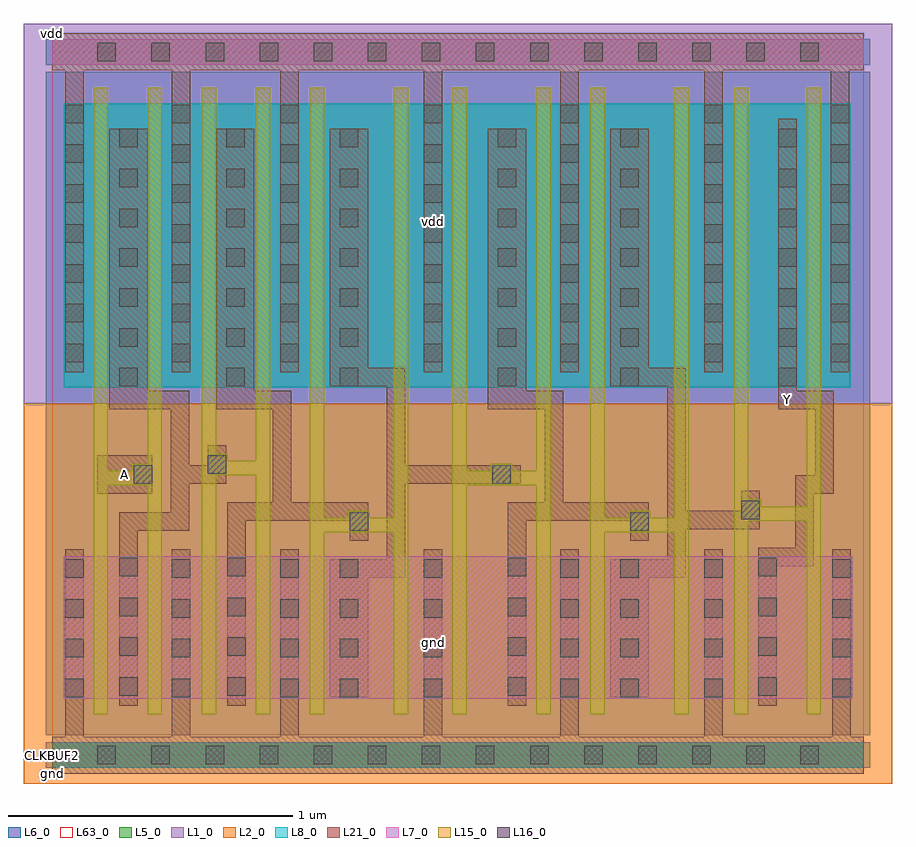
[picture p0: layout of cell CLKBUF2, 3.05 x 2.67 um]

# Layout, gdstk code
import gdstk
lib = gdstk.Library(unit=1e-6, precision=1e-09)
def R(c, l, rs):  # rectangles x0, y0, x1, y1
    for r in rs: c.add(gdstk.rectangle(r[:2], r[2:], *l))
def A(c, l, x, y, w, h, nx, ny, dx, dy):  # array of equal rectangles
    R(c, l, [(x+i*dx, y+j*dy, x+i*dx+w, y+j*dy+h) for i in range(nx) for j in range(ny)])
def P(c, l, *ps):  # polygons
    for p in ps: c.add(gdstk.Polygon(p, *l))
L1_0 = (1, 0)
L2_0 = (2, 0)
L5_0 = (5, 0)
L6_0 = (6, 0)
L7_0 = (7, 0)
L8_0 = (8, 0)
L15_0 = (15, 0)
L16_0 = (16, 0)
L21_0 = (21, 0)
L63_0 = (63, 0)

clkbuf2 = lib.new_cell('CLKBUF2')
R(clkbuf2, L1_0, [(-0.1,1.235,2.95,2.57)])
R(clkbuf2, L2_0, [(-0.1,-0.1,2.95,1.235)])
A(clkbuf2, L5_0, 0.145, 0.198, 0.05, 0.5, 5, 1, 0.19, 0)
A(clkbuf2, L5_0, 0.195, 0.198, 0.14, 0.5, 4, 1, 0.19, 0)
A(clkbuf2, L5_0, 0.145, 1.29, 0.05, 1, 5, 1, 0.19, 0)
A(clkbuf2, L5_0, 0.195, 1.29, 0.14, 1, 4, 1, 0.19, 0)
R(clkbuf2, L5_0, [(0,-0.045,2.85,0.045), (0.04,0.198,0.145,0.698), (0.955,0.198,1.2,0.698), (1.2,0.198,1.25,0.698), (1.25,0.198,1.405,0.698), (1.405,0.198,1.455,0.698), (1.455,0.198,1.7,0.698), (1.7,0.198,1.75,0.698), (1.75,0.198,1.89,0.698), (1.89,0.198,1.94,0.698), (1.94,0.198,2.185,0.698), (2.185,0.198,2.235,0.698), (2.235,0.198,2.395,0.698), (2.395,0.198,2.445,0.698), (2.445,0.198,2.65,0.698), (2.65,0.198,2.7,0.698), (2.7,0.198,2.81,0.698), (0.04,1.29,0.145,2.29), (0.955,1.29,1.2,2.29), (1.2,1.29,1.25,2.29), (1.25,1.29,1.405,2.29), (1.405,1.29,1.455,2.29), (1.455,1.29,1.7,2.29), (1.7,1.29,1.75,2.29), (1.75,1.29,1.89,2.29), (1.89,1.29,1.94,2.29), (1.94,1.29,2.185,2.29), (2.185,1.29,2.235,2.29), (2.235,1.29,2.395,2.29), (2.395,1.29,2.445,2.29), (2.445,1.29,2.65,2.29), (2.65,1.29,2.7,2.29), (2.7,1.29,2.805,2.29), (0,2.425,2.85,2.515)])
R(clkbuf2, L6_0, [(-0.023,-0.045,2.873,0.045), (-0.023,-0.045,2.873,0.045), (-0.023,0.07,2.873,1.235), (-0.023,1.235,2.873,2.4), (-0.023,2.425,2.873,2.515), (-0.023,2.425,2.873,2.515)])
A(clkbuf2, L7_0, 0.145, 0.198, 0.05, 0.5, 5, 1, 0.19, 0)
A(clkbuf2, L7_0, 0.195, 0.198, 0.14, 0.5, 4, 1, 0.19, 0)
R(clkbuf2, L7_0, [(0.04,0.198,0.145,0.698), (0.955,0.198,1.2,0.698), (1.2,0.198,1.25,0.698), (1.25,0.198,1.405,0.698), (1.405,0.198,1.455,0.698), (1.455,0.198,1.7,0.698), (1.7,0.198,1.75,0.698), (1.75,0.198,1.89,0.698), (1.89,0.198,1.94,0.698), (1.94,0.198,2.185,0.698), (2.185,0.198,2.235,0.698), (2.235,0.198,2.395,0.698), (2.395,0.198,2.445,0.698), (2.445,0.198,2.65,0.698), (2.65,0.198,2.7,0.698), (2.7,0.198,2.81,0.698), (0,2.425,2.85,2.515)])
A(clkbuf2, L8_0, 0.145, 1.29, 0.05, 1, 5, 1, 0.19, 0)
A(clkbuf2, L8_0, 0.195, 1.29, 0.14, 1, 4, 1, 0.19, 0)
R(clkbuf2, L8_0, [(0,-0.045,2.85,0.045), (0.04,1.29,0.145,2.29), (0.955,1.29,1.2,2.29), (1.2,1.29,1.25,2.29), (1.25,1.29,1.405,2.29), (1.405,1.29,1.455,2.29), (1.455,1.29,1.7,2.29), (1.7,1.29,1.75,2.29), (1.75,1.29,1.89,2.29), (1.89,1.29,1.94,2.29), (1.94,1.29,2.185,2.29), (2.185,1.29,2.235,2.29), (2.235,1.29,2.395,2.29), (2.395,1.29,2.445,2.29), (2.445,1.29,2.65,2.29), (2.65,1.29,2.7,2.29), (2.7,1.29,2.805,2.29)])
A(clkbuf2, L15_0, 0.145, 0.143, 0.05, 0.055, 5, 2, 0.19, 2.147)
A(clkbuf2, L15_0, 0.145, 0.198, 0.05, 0.5, 5, 1, 0.19, 0)
A(clkbuf2, L15_0, 0.145, 1.29, 0.05, 1, 5, 1, 0.19, 0)
R(clkbuf2, L15_0, [(1.2,0.143,1.25,0.198), (1.405,0.143,1.455,0.198), (1.7,0.143,1.75,0.198), (1.89,0.143,1.94,0.198), (2.185,0.143,2.235,0.198), (2.395,0.143,2.445,0.198), (2.65,0.143,2.7,0.198), (1.2,0.198,1.25,0.698), (1.405,0.198,1.455,0.698), (1.7,0.198,1.75,0.698), (1.89,0.198,1.94,0.698), (2.185,0.198,2.235,0.698), (2.395,0.198,2.445,0.698), (2.65,0.198,2.7,0.698), (1.2,1.29,1.25,2.29), (1.405,1.29,1.455,2.29), (1.7,1.29,1.75,2.29), (1.89,1.29,1.94,2.29), (2.185,1.29,2.235,2.29), (2.395,1.29,2.445,2.29), (2.65,1.29,2.7,2.29), (1.2,2.29,1.25,2.345), (1.405,2.29,1.455,2.345), (1.7,2.29,1.75,2.345), (1.89,2.29,1.94,2.345), (2.185,2.29,2.235,2.345), (2.395,2.29,2.445,2.345), (2.65,2.29,2.7,2.345)])
P(clkbuf2, L15_0, [(0.145,1.29),(0.195,1.29),(0.195,0.998),(0.28,0.998),(0.28,1.023),(0.335,1.023),(0.335,1.29),(0.385,1.29),(0.385,0.698),(0.335,0.698),(0.335,0.948),(0.195,0.948),(0.195,0.698),(0.145,0.698)],
  [(0.525,1.29),(0.575,1.29),(0.575,1.058),(0.615,1.058),(0.615,1.033),(0.715,1.033),(0.715,1.29),(0.765,1.29),(0.765,0.698),(0.715,0.698),(0.715,0.983),(0.575,0.983),(0.575,0.698),(0.525,0.698)],
  [(0.905,1.29),(0.955,1.29),(0.955,0.833),(1.04,0.833),(1.04,0.858),(1.115,0.858),(1.115,0.833),(1.2,0.833),(1.2,1.29),(1.25,1.29),(1.25,0.698),(1.2,0.698),(1.2,0.783),(0.955,0.783),(0.955,0.698),(0.905,0.698)],
  [(1.405,1.29),(1.455,1.29),(1.455,0.998),(1.54,0.998),(1.54,1.023),(1.615,1.023),(1.615,0.998),(1.7,0.998),(1.7,1.29),(1.75,1.29),(1.75,0.698),(1.7,0.698),(1.7,0.948),(1.455,0.948),(1.455,0.698),(1.405,0.698)],
  [(1.89,1.29),(1.94,1.29),(1.94,0.833),(2.025,0.833),(2.025,0.858),(2.1,0.858),(2.1,0.833),(2.185,0.833),(2.185,1.29),(2.235,1.29),(2.235,0.698),(2.185,0.698),(2.185,0.783),(1.94,0.783),(1.94,0.698),(1.89,0.698)],
  [(2.395,1.29),(2.445,1.29),(2.445,0.898),(2.49,0.898),(2.49,0.873),(2.65,0.873),(2.65,1.29),(2.7,1.29),(2.7,0.698),(2.65,0.698),(2.65,0.823),(2.445,0.823),(2.445,0.698),(2.395,0.698)])
A(clkbuf2, L16_0, 0.158, -0.033, 0.065, 0.066, 14, 1, 0.19, 0)
A(clkbuf2, L16_0, 0.045, 0.203, 0.065, 0.065, 1, 4, 0, 0.14)
A(clkbuf2, L16_0, 0.42, 0.203, 0.065, 0.065, 1, 4, 0, 0.14)
A(clkbuf2, L16_0, 0.8, 0.203, 0.065, 0.065, 1, 4, 0, 0.14)
A(clkbuf2, L16_0, 1.01, 0.203, 0.065, 0.065, 1, 4, 0, 0.14)
A(clkbuf2, L16_0, 1.305, 0.203, 0.065, 0.065, 1, 4, 0, 0.14)
A(clkbuf2, L16_0, 1.785, 0.203, 0.065, 0.065, 1, 4, 0, 0.14)
A(clkbuf2, L16_0, 1.995, 0.203, 0.065, 0.065, 1, 4, 0, 0.14)
A(clkbuf2, L16_0, 2.29, 0.203, 0.065, 0.065, 1, 4, 0, 0.14)
A(clkbuf2, L16_0, 2.74, 0.203, 0.065, 0.065, 1, 4, 0, 0.14)
A(clkbuf2, L16_0, 0.235, 0.208, 0.065, 0.065, 1, 4, 0, 0.14)
A(clkbuf2, L16_0, 0.615, 0.208, 0.065, 0.065, 1, 4, 0, 0.14)
A(clkbuf2, L16_0, 1.6, 0.208, 0.065, 0.065, 1, 4, 0, 0.14)
A(clkbuf2, L16_0, 2.48, 0.208, 0.065, 0.065, 1, 4, 0, 0.14)
A(clkbuf2, L16_0, 0.235, 1.295, 0.065, 0.065, 1, 7, 0, 0.14)
A(clkbuf2, L16_0, 0.61, 1.295, 0.065, 0.065, 1, 7, 0, 0.14)
A(clkbuf2, L16_0, 1.01, 1.295, 0.065, 0.065, 1, 7, 0, 0.14)
A(clkbuf2, L16_0, 1.565, 1.295, 0.065, 0.065, 1, 7, 0, 0.14)
A(clkbuf2, L16_0, 1.995, 1.295, 0.065, 0.065, 1, 7, 0, 0.14)
A(clkbuf2, L16_0, 2.55, 1.295, 0.065, 0.065, 1, 7, 0, 0.14)
A(clkbuf2, L16_0, 0.045, 1.38, 0.065, 0.065, 1, 7, 0, 0.14)
A(clkbuf2, L16_0, 0.42, 1.38, 0.065, 0.065, 1, 7, 0, 0.14)
A(clkbuf2, L16_0, 0.8, 1.38, 0.065, 0.065, 1, 7, 0, 0.14)
A(clkbuf2, L16_0, 1.305, 1.38, 0.065, 0.065, 1, 7, 0, 0.14)
A(clkbuf2, L16_0, 1.785, 1.38, 0.065, 0.065, 1, 7, 0, 0.14)
A(clkbuf2, L16_0, 2.29, 1.38, 0.065, 0.065, 1, 7, 0, 0.14)
A(clkbuf2, L16_0, 2.735, 1.38, 0.065, 0.065, 1, 7, 0, 0.14)
A(clkbuf2, L16_0, 0.158, 2.438, 0.065, 0.065, 14, 1, 0.19, 0)
R(clkbuf2, L16_0, [(1.045,0.788,1.11,0.853), (2.03,0.788,2.095,0.853), (2.42,0.828,2.485,0.893), (0.285,0.953,0.35,1.018), (1.545,0.953,1.61,1.018), (0.545,0.988,0.61,1.053)])
R(clkbuf2, L21_0, [(0.158,0.918,0.35,1.053)])
P(clkbuf2, L21_0, [(0,2.405),(0,2.535),(2.85,2.535),(2.85,2.405),(2.8,2.405),(2.8,1.345),(2.735,1.345),(2.735,2.405),(2.355,2.405),(2.355,1.345),(2.29,1.345),(2.29,2.405),(1.85,2.405),(1.85,1.345),(1.785,1.345),(1.785,2.405),(1.37,2.405),(1.37,1.345),(1.305,1.345),(1.305,2.405),(0.865,2.405),(0.865,1.345),(0.8,1.345),(0.8,2.405),(0.485,2.405),(0.485,1.345),(0.42,1.345),(0.42,2.405),(0.11,2.405),(0.11,1.345),(0.045,1.345),(0.045,2.405)],
  [(0,-0.065),(0,0.065),(0.045,0.065),(0.045,0.723),(0.11,0.723),(0.11,0.065),(0.42,0.065),(0.42,0.723),(0.485,0.723),(0.485,0.065),(0.8,0.065),(0.8,0.723),(0.865,0.723),(0.865,0.065),(1.305,0.065),(1.305,0.723),(1.37,0.723),(1.37,0.065),(1.785,0.065),(1.785,0.723),(1.85,0.723),(1.85,0.065),(2.29,0.065),(2.29,0.723),(2.355,0.723),(2.355,0.065),(2.74,0.065),(2.74,0.723),(2.805,0.723),(2.805,0.065),(2.85,0.065),(2.85,-0.065)],
  [(0.48,0.788),(0.3,0.788),(0.3,0.173),(0.235,0.173),(0.235,0.853),(0.415,0.853),(0.415,1.215),(0.2,1.215),(0.2,2.2),(0.335,2.2),(0.335,1.28),(0.48,1.28),(0.48,1.018),(0.545,1.018),(0.545,1.088),(0.61,1.088),(0.61,0.953),(0.48,0.953)],
  [(0.775,0.888),(0.775,1.215),(0.575,1.215),(0.575,2.2),(0.71,2.2),(0.71,1.28),(0.84,1.28),(0.84,0.888),(1.11,0.888),(1.11,0.753),(1.045,0.753),(1.045,0.823),(0.68,0.823),(0.68,0.173),(0.615,0.173),(0.615,0.888)],
  [(1.24,0.623),(1.11,0.623),(1.11,0.203),(0.975,0.203),(0.975,0.688),(1.175,0.688),(1.175,1.295),(0.975,1.295),(0.975,2.2),(1.11,2.2),(1.11,1.36),(1.24,1.36),(1.24,1.018),(1.645,1.018),(1.645,0.953),(1.24,0.953)],
  [(1.73,0.888),(1.73,1.215),(1.53,1.215),(1.53,2.2),(1.665,2.2),(1.665,1.28),(1.795,1.28),(1.795,0.888),(2.095,0.888),(2.095,0.753),(2.03,0.753),(2.03,0.823),(1.665,0.823),(1.665,0.173),(1.6,0.173),(1.6,0.888)],
  [(2.225,0.623),(2.095,0.623),(2.095,0.203),(1.96,0.203),(1.96,0.688),(2.16,0.688),(2.16,1.295),(1.96,1.295),(1.96,2.2),(2.095,2.2),(2.095,1.36),(2.225,1.36),(2.225,0.858),(2.42,0.858),(2.42,0.928),(2.485,0.928),(2.485,0.793),(2.225,0.793)],
  [(2.61,0.728),(2.61,0.983),(2.68,0.983),(2.68,1.215),(2.55,1.215),(2.55,2.235),(2.615,2.235),(2.615,1.28),(2.745,1.28),(2.745,0.918),(2.675,0.918),(2.675,0.663),(2.545,0.663),(2.545,0.173),(2.48,0.173),(2.48,0.728)])
R(clkbuf2, L63_0, [(0,0,2.85,2.47)])
clkbuf2.add(gdstk.Label('vdd', (1.338,1.875), layer=21, texttype=1))
clkbuf2.add(gdstk.Label('gnd', (1.338,0.394), layer=21, texttype=1))
clkbuf2.add(gdstk.Label('Y', (2.583,1.248), layer=21, texttype=1))
clkbuf2.add(gdstk.Label('A', (0.254,0.985), layer=21, texttype=1))
clkbuf2.add(gdstk.Label('vdd', (0,2.535), layer=21, texttype=2))
clkbuf2.add(gdstk.Label('gnd', (0,-0.065), layer=21, texttype=2))
clkbuf2.add(gdstk.Label('CLKBUF2', (0,0), layer=63, texttype=1))

lib.write_gds('CLKBUF2.gds')
